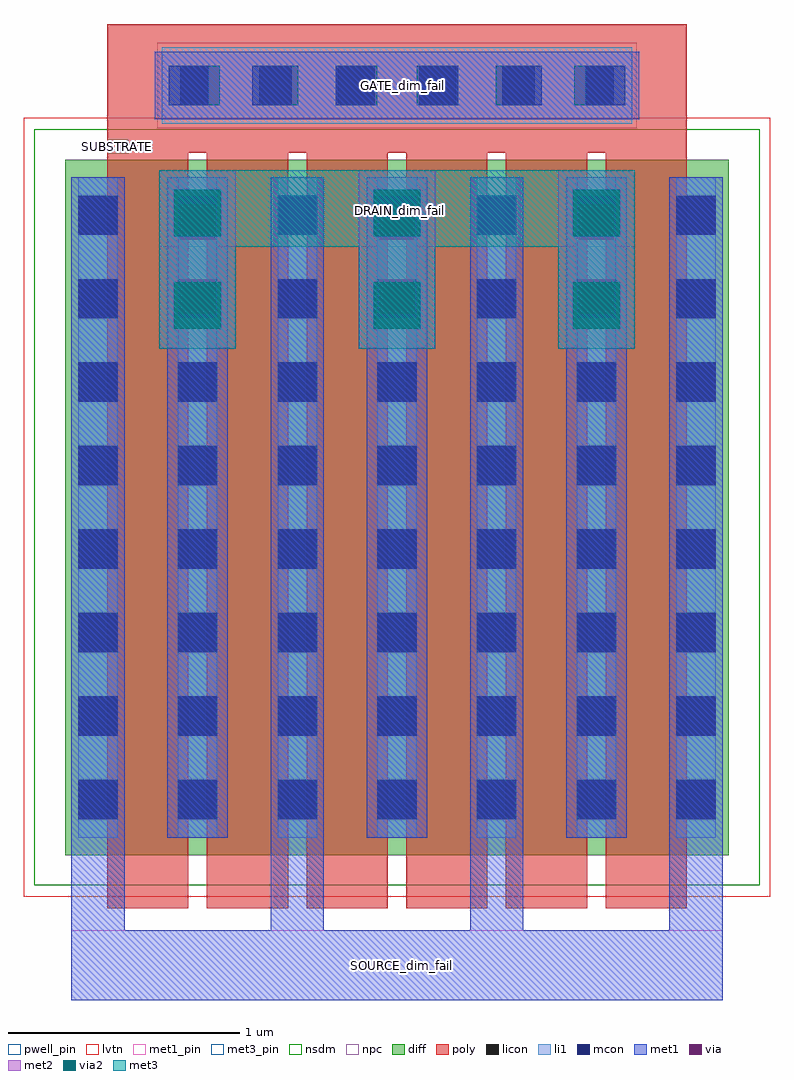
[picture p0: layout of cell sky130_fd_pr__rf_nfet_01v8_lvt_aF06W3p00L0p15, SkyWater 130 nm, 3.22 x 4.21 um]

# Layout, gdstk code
import gdstk
lib = gdstk.Library(unit=1e-6, precision=1e-09)
def R(c, l, rs):  # rectangles x0, y0, x1, y1
    for r in rs: c.add(gdstk.rectangle(r[:2], r[2:], *l))
def A(c, l, x, y, w, h, nx, ny, dx, dy):  # array of equal rectangles
    R(c, l, [(x+i*dx, y+j*dy, x+i*dx+w, y+j*dy+h) for i in range(nx) for j in range(ny)])
def P(c, l, *ps):  # polygons
    for p in ps: c.add(gdstk.Polygon(p, *l))
diff = (65, 20)
poly = (66, 20)
licon = (66, 44)
li1 = (67, 20)
mcon = (67, 44)
met1_pin = (68, 16)
met1 = (68, 20)
via = (68, 44)
met2 = (69, 20)
via2 = (69, 44)
met3_pin = (70, 16)
met3 = (70, 20)
nsdm = (93, 44)
npc = (95, 20)
pwell_pin = (122, 16)
lvtn = (125, 44)

sky130_fd_pr__rf_nfet_01 = lib.new_cell('sky130_fd_pr__rf_nfet_01v8_lvt_aF06W3p00L0p15')
A(sky130_fd_pr__rf_nfet_01, diff, 0.18, 0.18, 0.28, 3, 3, 1, 0.43, 0)
A(sky130_fd_pr__rf_nfet_01, diff, 0.21, 0.18, 0.25, 3, 4, 1, 0.86, 0)
A(sky130_fd_pr__rf_nfet_01, diff, 0.46, 0.18, 0.15, 3, 6, 1, 0.43, 0)
A(sky130_fd_pr__rf_nfet_01, diff, 1.04, 0.18, 0.28, 3, 3, 1, 0.43, 0)
A(sky130_fd_pr__rf_nfet_01, diff, 1.9, 0.18, 0.28, 3, 3, 1, 0.43, 0)
R(sky130_fd_pr__rf_nfet_01, diff, [(2.76,0.18,3.04,3.18)])
P(sky130_fd_pr__rf_nfet_01, poly, [(0.36,-0.05),(0.36,3.765),(2.86,3.765),(2.86,-0.05),(2.51,-0.05),(2.51,3.21),(2.43,3.21),(2.43,-0.05),(2.08,-0.05),(2.08,3.21),(2,3.21),(2,-0.05),(1.65,-0.05),(1.65,3.21),(1.57,3.21),(1.57,-0.05),(1.22,-0.05),(1.22,3.21),(1.14,3.21),(1.14,-0.05),(0.79,-0.05),(0.79,3.21),(0.71,3.21),(0.71,-0.05)])
A(sky130_fd_pr__rf_nfet_01, licon, 0.235, 0.335, 0.17, 0.17, 7, 8, 0.43, 0.36)
A(sky130_fd_pr__rf_nfet_01, licon, 0.675, 3.415, 0.17, 0.17, 6, 1, 0.34, 0)
A(sky130_fd_pr__rf_nfet_01, li1, 0.235, 0.255, 0.17, 2.85, 7, 1, 0.43, 0)
R(sky130_fd_pr__rf_nfet_01, li1, [(0.595,3.335,2.625,3.665), (0.625,3.415,2.595,3.585)])
A(sky130_fd_pr__rf_nfet_01, mcon, 0.235, 0.335, 0.17, 0.17, 7, 8, 0.43, 0.36)
A(sky130_fd_pr__rf_nfet_01, mcon, 0.625, 3.415, 0.17, 0.17, 6, 1, 0.36, 0)
R(sky130_fd_pr__rf_nfet_01, met1_pin, [(0.205,-0.445,3.015,-0.145), (0.565,3.355,2.655,3.645)])
A(sky130_fd_pr__rf_nfet_01, met1, 0.62, 0.275, 0.26, 0.65, 3, 1, 0.86, 0)
R(sky130_fd_pr__rf_nfet_01, met1, [(0.565,3.355,2.655,3.645)])
A(sky130_fd_pr__rf_nfet_01, via, 0.675, 2.515, 0.15, 0.15, 3, 2, 0.86, 0.32)
A(sky130_fd_pr__rf_nfet_01, met2, 0.585, 2.365, 0.33, 0.77, 3, 1, 0.86, 0)
A(sky130_fd_pr__rf_nfet_01, met2, 0.62, 2.43, 0.26, 0.64, 3, 1, 0.86, 0)
A(sky130_fd_pr__rf_nfet_01, via2, 0.65, 2.45, 0.2, 0.2, 3, 2, 0.86, 0.4)
R(sky130_fd_pr__rf_nfet_01, met3_pin, [(0.585,2.805,2.635,3.135)])
A(sky130_fd_pr__rf_nfet_01, met3, 0.585, 2.365, 0.33, 0.77, 3, 1, 0.86, 0)
A(sky130_fd_pr__rf_nfet_01, nsdm, 0.21, 0.05, 0.4, 3.26, 6, 1, 0.43, 0)
A(sky130_fd_pr__rf_nfet_01, nsdm, 0.48, 0.05, 0.54, 3.26, 5, 1, 0.43, 0)
R(sky130_fd_pr__rf_nfet_01, nsdm, [(0.045,0.05,0.59,3.31), (2.63,0.05,3.175,3.31)])
R(sky130_fd_pr__rf_nfet_01, npc, [(0.575,3.315,2.645,3.685)])
R(sky130_fd_pr__rf_nfet_01, pwell_pin, [(0.36,3.205,0.45,3.265)])
R(sky130_fd_pr__rf_nfet_01, lvtn, [(0,0,3.22,3.36)])
sky130_fd_pr__rf_nfet_01.add(gdstk.FlexPath([(0.585,2.97),(2.635,2.97)], 0.33, ends="flush", simple_path=True, layer=70, datatype=20))  # met3
sky130_fd_pr__rf_nfet_01.add(gdstk.FlexPath([(0.205,-0.295),(3.015,-0.295)], 0.3, ends="flush", simple_path=True, layer=68, datatype=20))  # met1
sky130_fd_pr__rf_nfet_01.add(gdstk.FlexPath([(2.9,3.105),(2.9,-0.445)], 0.23, ends="flush", simple_path=True, layer=68, datatype=20))  # met1
sky130_fd_pr__rf_nfet_01.add(gdstk.FlexPath([(2.04,3.105),(2.04,-0.445)], 0.23, ends="flush", simple_path=True, layer=68, datatype=20))  # met1
sky130_fd_pr__rf_nfet_01.add(gdstk.FlexPath([(1.18,3.105),(1.18,-0.445)], 0.23, ends="flush", simple_path=True, layer=68, datatype=20))  # met1
sky130_fd_pr__rf_nfet_01.add(gdstk.FlexPath([(2.47,3.105),(2.47,0.255)], 0.26, ends="flush", simple_path=True, layer=68, datatype=20))  # met1
sky130_fd_pr__rf_nfet_01.add(gdstk.FlexPath([(1.61,3.105),(1.61,0.255)], 0.26, ends="flush", simple_path=True, layer=68, datatype=20))  # met1
sky130_fd_pr__rf_nfet_01.add(gdstk.FlexPath([(0.75,3.105),(0.75,0.255)], 0.26, ends="flush", simple_path=True, layer=68, datatype=20))  # met1
sky130_fd_pr__rf_nfet_01.add(gdstk.FlexPath([(0.32,3.105),(0.32,-0.445)], 0.23, ends="flush", simple_path=True, layer=68, datatype=20))  # met1
sky130_fd_pr__rf_nfet_01.add(gdstk.Label('DRAIN_dim_fail', (1.62,2.96), layer=70, texttype=16))
sky130_fd_pr__rf_nfet_01.add(gdstk.Label('SOURCE_dim_fail', (1.63,-0.295), layer=68, texttype=16))
sky130_fd_pr__rf_nfet_01.add(gdstk.Label('GATE_dim_fail', (1.635,3.5), layer=68, texttype=16))
sky130_fd_pr__rf_nfet_01.add(gdstk.Label('SUBSTRATE', (0.405,3.235), layer=64, texttype=59))

lib.write_gds('sky130_fd_pr__rf_nfet_01v8_lvt_aF06W3p00L0p15.gds')
